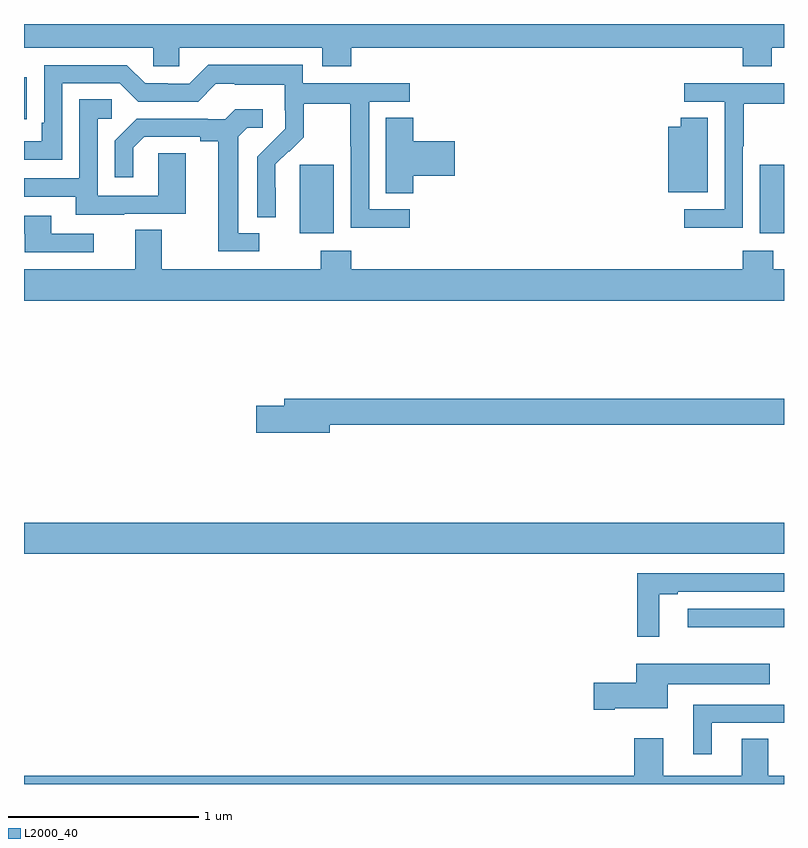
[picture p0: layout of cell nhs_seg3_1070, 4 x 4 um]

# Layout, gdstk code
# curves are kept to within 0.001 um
import gdstk
lib = gdstk.Library(unit=1e-6, precision=1e-09)
def R(c, l, rs):  # rectangles x0, y0, x1, y1
    for r in rs: c.add(gdstk.rectangle(r[:2], r[2:], *l))
def P(c, l, *ps):  # polygons
    for p in ps: c.add(gdstk.Polygon(p, *l))
L2000_40 = (2000, 40)

nhs_seg3_1070 = lib.new_cell('nhs_seg3_1070')
R(nhs_seg3_1070, L2000_40, [(170.493,671.225,171,671.322), (167,671.612,171,671.776), (168.452,673.298,168.631,673.659), (170.873,673.298,171,673.659), (167,673.9,167.015,674.119)])
P(nhs_seg3_1070, L2000_40, [(168.722,674.276),(170.783,674.276),(170.783,674.177),(170.935,674.177),(170.935,674.276),(171,674.276),(171,674.4),(167,674.4),(167,674.276),(167.679,674.276),(167.679,674.178),(167.817,674.178),(167.817,674.276),(168.569,674.276),(168.569,674.177),(168.722,674.177)],
  [(169.03,673.425),(168.816,673.425),(168.816,673.992),(169.03,673.992),(169.03,674.088),(168.468,674.088),(168.468,674.185),(167.971,674.185),(167.871,674.085),(167.756,674.085),(167.756,674.088),(167.637,674.088),(167.541,674.184),(167.106,674.184),(167.106,673.879),(167.093,673.879),(167.093,673.782),(167,673.782),(167,673.686),(167.202,673.686),(167.202,674.088),(167.505,674.088),(167.601,673.992),(167.916,673.992),(168.009,674.085),(168.109,674.085),(168.109,674.081),(168.372,674.081),(168.372,673.947),(168.374,673.947),(168.374,673.85),(168.228,673.702),(168.228,673.384),(168.324,673.384),(168.323,673.661),(168.393,673.731),(168.396,673.728),(168.473,673.805),(168.473,673.98),(168.718,673.98),(168.718,673.756),(168.72,673.756),(168.72,673.327),(169.03,673.327)],
  [(170.784,673.756),(170.787,673.756),(170.787,673.98),(171,673.98),(171,674.088),(170.475,674.088),(170.475,673.992),(170.688,673.992),(170.688,673.425),(170.475,673.425),(170.475,673.327),(170.784,673.327)],
  [(167.527,673.401),(167.851,673.401),(167.851,673.721),(167.706,673.721),(167.706,673.497),(167.388,673.497),(167.388,673.902),(167.461,673.902),(167.461,674.003),(167.292,674.003),(167.292,673.587),(167,673.587),(167,673.491),(167.273,673.491),(167.273,673.397),(167.527,673.397)],
  [(168.238,673.299),(168.127,673.299),(168.127,673.807),(168.174,673.854),(168.256,673.854),(168.256,673.951),(168.112,673.951),(168.06,673.899),(167.966,673.899),(167.966,673.902),(167.594,673.902),(167.478,673.786),(167.478,673.593),(167.575,673.593),(167.575,673.749),(167.632,673.806),(167.927,673.806),(167.927,673.784),(168.023,673.784),(168.023,673.203),(168.238,673.203)],
  [(170.599,673.907),(170.456,673.907),(170.456,673.858),(170.39,673.858),(170.39,673.514),(170.599,673.514)],
  [(169.049,673.601),(169.267,673.601),(169.267,673.784),(169.049,673.784),(169.049,673.907),(168.905,673.907),(168.905,673.51),(169.049,673.51)],
  [(167.368,673.296),(167.143,673.296),(167.143,673.392),(167,673.392),(167,673.296),(167.003,673.296),(167.003,673.2),(167.368,673.2)],
  [(171,673.108),(170.943,673.108),(170.943,673.207),(170.783,673.207),(170.783,673.108),(168.722,673.108),(168.722,673.207),(168.562,673.207),(168.562,673.108),(167.725,673.108),(167.725,673.316),(167.585,673.316),(167.585,673.108),(167,673.108),(167,672.944),(171,672.944)],
  [(168.61,672.292),(171,672.292),(171,672.428),(168.371,672.428),(168.371,672.392),(168.222,672.392),(168.222,672.25),(168.61,672.25)],
  [(170.344,671.4),(170.44,671.4),(170.44,671.412),(171,671.412),(171,671.508),(170.227,671.508),(170.227,671.175),(170.344,671.175)],
  [(170.11,670.799),(170.389,670.799),(170.389,670.925),(170.926,670.925),(170.926,671.032),(170.222,671.032),(170.222,670.934),(169.998,670.934),(169.998,670.792),(170.11,670.792)],
  [(170.62,670.722),(171,670.722),(171,670.818),(170.522,670.818),(170.522,670.557),(170.62,670.557)],
  [(171,670.444),(170.917,670.444),(170.917,670.637),(170.777,670.637),(170.777,670.444),(170.365,670.444),(170.365,670.642),(170.213,670.642),(170.213,670.444),(167,670.444),(167,670.4),(171,670.4)])

lib.write_gds('nhs_seg3_1070.gds')
